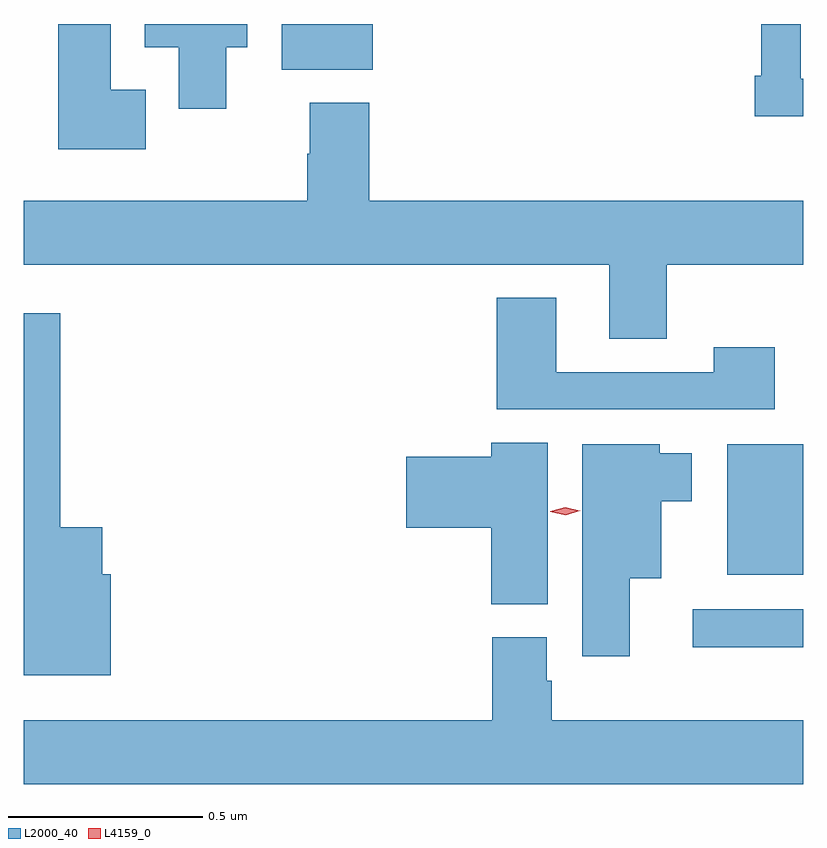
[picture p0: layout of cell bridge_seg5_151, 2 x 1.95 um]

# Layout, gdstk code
import gdstk
lib = gdstk.Library(unit=1e-6, precision=1e-09)
def R(c, l, rs):  # rectangles x0, y0, x1, y1
    for r in rs: c.add(gdstk.rectangle(r[:2], r[2:], *l))
def P(c, l, *ps):  # polygons
    for p in ps: c.add(gdstk.Polygon(p, *l))
L2000_40 = (2000, 40)
L4159_0 = (4159, 0)

bridge_seg5_151 = lib.new_cell('bridge_seg5_151')
R(bridge_seg5_151, L2000_40, [(155.877,890.411,156.161,890.508), (155.966,890.597,156.161,890.932), (154.823,891.893,155.056,892.01)])
P(bridge_seg5_151, L2000_40, [(154.474,891.841),(154.384,891.841),(154.384,892.01),(154.25,892.01),(154.25,891.689),(154.474,891.689)],
  [(156.161,891.87),(156.154,891.87),(156.154,892.01),(156.053,892.01),(156.053,891.877),(156.036,891.877),(156.036,891.773),(156.161,891.773)],
  [(154.681,891.95),(154.735,891.95),(154.735,892.01),(154.472,892.01),(154.472,891.95),(154.559,891.95),(154.559,891.792),(154.681,891.792)],
  [(155.811,891.392),(156.161,891.392),(156.161,891.556),(155.048,891.556),(155.048,891.808),(154.895,891.808),(154.895,891.677),(154.888,891.677),(154.888,891.556),(154.161,891.556),(154.161,891.392),(155.663,891.392),(155.663,891.202),(155.811,891.202)],
  [(156.088,891.181),(155.932,891.181),(155.932,891.117),(155.527,891.117),(155.527,891.307),(155.375,891.307),(155.375,891.021),(156.088,891.021)],
  [(154.384,890.598),(154.363,890.598),(154.363,890.719),(154.255,890.719),(154.255,891.268),(154.161,891.268),(154.161,890.339),(154.384,890.339)],
  [(155.506,890.936),(155.36,890.936),(155.36,890.9),(155.142,890.9),(155.142,890.717),(155.36,890.717),(155.36,890.521),(155.506,890.521)],
  [(155.716,890.588),(155.797,890.588),(155.797,890.786),(155.875,890.786),(155.875,890.908),(155.793,890.908),(155.793,890.932),(155.594,890.932),(155.594,890.388),(155.716,890.388)],
  [(156.161,890.224),(155.516,890.224),(155.516,890.325),(155.503,890.325),(155.503,890.436),(155.363,890.436),(155.363,890.224),(154.161,890.224),(154.161,890.06),(156.161,890.06)])
P(bridge_seg5_151, L4159_0, [(155.551,890.75),(155.512,890.759),(155.512,890.76),(155.512,890.76),(155.55,890.77),(155.588,890.761),(155.589,890.761),(155.588,890.761)])

lib.write_gds('bridge_seg5_151.gds')
